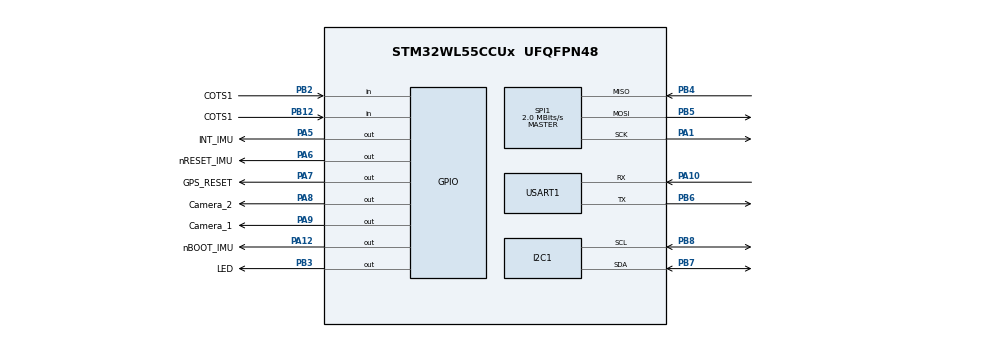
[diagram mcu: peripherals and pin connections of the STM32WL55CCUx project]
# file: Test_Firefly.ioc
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Mcu.Family=STM32WL
Mcu.Name=STM32WL55CCUx
Mcu.Package=UFQFPN48
NVIC.PriorityGroup=NVIC_PRIORITYGROUP_4
PA1.Mode=Full_Duplex_Master
PA1.Signal=SPI1_SCK
PA10.Mode=Asynchronous
PA10.Signal=USART1_RX
PA12.GPIO_Label=nBOOT_IMU
PA12.Signal=GPIO_Output
PA5.GPIO_Label=INT_IMU
PA5.Signal=GPIO_Output
PA6.GPIO_Label=nRESET_IMU
PA6.Signal=GPIO_Output
PA7.GPIO_Label=GPS_RESET
PA7.Signal=GPIO_Output
PA8.GPIO_Label=Camera_2
PA8.Signal=GPIO_Output
PA9.GPIO_Label=Camera_1
PA9.Signal=GPIO_Output
PB12.GPIO_Label=COTS1
PB12.Signal=GPIO_Input
PB2.GPIO_Label=COTS1
PB2.Signal=GPIO_Input
PB3.GPIO_Label=LED
PB3.Signal=GPIO_Output
PB4.Mode=Full_Duplex_Master
PB4.Signal=SPI1_MISO
PB5.Mode=Full_Duplex_Master
PB5.Signal=SPI1_MOSI
PB6.Mode=Asynchronous
PB6.Signal=USART1_TX
PB7.Mode=I2C
PB7.Signal=I2C1_SDA
PB8.Mode=I2C
PB8.Signal=I2C1_SCL
ProjectManager.HeapSize=0x200
ProjectManager.StackSize=0x400
ProjectManager.TargetToolchain=Makefile
RCC.HSE_VALUE=8000000
RCC.HSI_VALUE=16000000
RCC.LSE_VALUE=32768
RCC.VCOOutputFreq_Value=32000000
SPI1.CalculateBaudRate=2.0 MBits/s
SPI1.Direction=SPI_DIRECTION_2LINES
SPI1.Mode=SPI_MODE_MASTER
SPI1.VirtualType=VM_MASTER
USART1.VirtualMode-Asynchronous=VM_ASYNC
VP_SUBGHZ_VS_SUBGHZ.Mode=SUBGHZ_Activate
board=custom

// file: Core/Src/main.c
/* USER CODE BEGIN Header */
/**
  ******************************************************************************
  * @file           : main.c
  * @brief          : Main program body
  ******************************************************************************
  * @attention
  *
  * Copyright (c) 2022 STMicroelectronics.
  * All rights reserved.
  *
  * This software is licensed under terms that can be found in the LICENSE file
  * in the root directory of this software component.
  * If no LICENSE file comes with this software, it is provided AS-IS.
  *
  ******************************************************************************
  */
/* USER CODE END Header */
#include "main.h"
#include "app_subghz_phy.h"
#include "radio.h"
#include <string.h>

/* USER CODE BEGIN PD */
#define RF_FREQUENCY 868000000 // Hz
#define TX_OUTPUT_POWER 4

#define LORA_BANDWIDTH                              2         // [0: 125 kHz,
//  1: 250 kHz,
//  2: 500 kHz,
//  3: Reserved]
#define LORA_SPREADING_FACTOR                       10         // [SF7..SF12]
#define LORA_CODINGRATE                             1         // [1: 4/5,
//  2: 4/6,
//  3: 4/7,
//  4: 4/8]
#define LORA_PREAMBLE_LENGTH                        8         // Same for Tx and Rx
#define LORA_SYMBOL_TIMEOUT                         5         // Symbols
#define LORA_FIX_LENGTH_PAYLOAD_ON                  false
#define LORA_IQ_INVERSION_ON                        false

#define LORA_TX_BUFFER_SIZE 128
#define LORA_RX_BUFFER_SIZE 128
/* USER CODE END PD */

I2C_HandleTypeDef hi2c1;

SPI_HandleTypeDef hspi1;

SUBGHZ_HandleTypeDef hsubghz;

UART_HandleTypeDef huart1;

/* USER CODE BEGIN PV */
static const uint32_t I2CTxBuffer_size = 128;
static const uint32_t I2CRxBuffer_size = 128;
static const uint8_t IMU_ADDR = 0x28 << 1;
static const char HELLO[] = "Hello/r/n";
/* USER CODE END PV */

void SystemClock_Config(void);
static void MX_GPIO_Init(void);
static void MX_I2C1_Init(void);
static void MX_SPI1_Init(void);
static void MX_USART1_UART_Init(void);

int main(void)
{
  /* USER CODE BEGIN 1 */
  uint8_t I2CRxBuf[I2CRxBuffer_size];

  /* Buffer used for reception */
  uint8_t I2CTxBuf[I2CTxBuffer_size];
  /* USER CODE END 1 */

  /* MCU Configuration--------------------------------------------------------*/

  /* Reset of all peripherals, Initializes the Flash interface and the Systick. */
  HAL_Init();

  /* Configure the system clock */
  SystemClock_Config();

  /* Initialize all configured peripherals */
  MX_GPIO_Init();
  MX_I2C1_Init();
  MX_SPI1_Init();
  MX_USART1_UART_Init();
  MX_SubGHz_Phy_Init();

  /* USER CODE BEGIN 2 */
  Radio.SetChannel(RF_FREQUENCY);
	Radio.SetTxConfig(MODEM_LORA, TX_OUTPUT_POWER, 0, LORA_BANDWIDTH,
	LORA_SPREADING_FACTOR, LORA_CODINGRATE, LORA_PREAMBLE_LENGTH,
	LORA_FIX_LENGTH_PAYLOAD_ON,
	true, 0, 0, LORA_IQ_INVERSION_ON, 3000);

	Radio.SetPublicNetwork(false);

	Radio.SetMaxPayloadLength(MODEM_LORA, LORA_TX_BUFFER_SIZE);

  /* USER CODE END 2 */

  /* Infinite loop */
  /* USER CODE BEGIN WHILE */
  while (1)
  {
    HAL_GPIO_WritePin(LED_GPIO_Port, LED_Pin,GPIO_PIN_SET);
    HAL_Delay(500);

    HAL_GPIO_WritePin(LED_GPIO_Port, LED_Pin,GPIO_PIN_RESET);
    HAL_Delay(500);

    strcpy((char*)I2CTxBuf, "Hello!/r/n");
    Radio.Send(I2CTxBuf, 12);

    /* USER CODE END WHILE */
    MX_SubGHz_Phy_Process();

  }
}

void SystemClock_Config(void)
{
  RCC_OscInitTypeDef RCC_OscInitStruct = {0};
  RCC_ClkInitTypeDef RCC_ClkInitStruct = {0};

  /** Configure the main internal regulator output voltage
  */
  __HAL_PWR_VOLTAGESCALING_CONFIG(PWR_REGULATOR_VOLTAGE_SCALE2);

  /** Initializes the CPU, AHB and APB buses clocks
  */
  RCC_OscInitStruct.OscillatorType = RCC_OSCILLATORTYPE_MSI;
  RCC_OscInitStruct.MSIState = RCC_MSI_ON;
  RCC_OscInitStruct.MSICalibrationValue = RCC_MSICALIBRATION_DEFAULT;
  RCC_OscInitStruct.MSIClockRange = RCC_MSIRANGE_6;
  RCC_OscInitStruct.PLL.PLLState = RCC_PLL_NONE;
  if (HAL_RCC_OscConfig(&RCC_OscInitStruct) != HAL_OK)
  {
    Error_Handler();
  }

  /** Configure the SYSCLKSource, HCLK, PCLK1 and PCLK2 clocks dividers
  */
  RCC_ClkInitStruct.ClockType = RCC_CLOCKTYPE_HCLK3|RCC_CLOCKTYPE_HCLK
                              |RCC_CLOCKTYPE_SYSCLK|RCC_CLOCKTYPE_PCLK1
                              |RCC_CLOCKTYPE_PCLK2;
  RCC_ClkInitStruct.SYSCLKSource = RCC_SYSCLKSOURCE_MSI;
  RCC_ClkInitStruct.AHBCLKDivider = RCC_SYSCLK_DIV1;
  RCC_ClkInitStruct.APB1CLKDivider = RCC_HCLK_DIV1;
  RCC_ClkInitStruct.APB2CLKDivider = RCC_HCLK_DIV1;
  RCC_ClkInitStruct.AHBCLK3Divider = RCC_SYSCLK_DIV1;

  if (HAL_RCC_ClockConfig(&RCC_ClkInitStruct, FLASH_LATENCY_0) != HAL_OK)
  {
    Error_Handler();
  }
}

static void MX_I2C1_Init(void)
{

  hi2c1.Instance = I2C1;
  hi2c1.Init.Timing = 0x00000E14;
  hi2c1.Init.OwnAddress1 = 0;
  hi2c1.Init.AddressingMode = I2C_ADDRESSINGMODE_7BIT;
  hi2c1.Init.DualAddressMode = I2C_DUALADDRESS_DISABLE;
  hi2c1.Init.OwnAddress2 = 0;
  hi2c1.Init.OwnAddress2Masks = I2C_OA2_NOMASK;
  hi2c1.Init.GeneralCallMode = I2C_GENERALCALL_DISABLE;
  hi2c1.Init.NoStretchMode = I2C_NOSTRETCH_DISABLE;
  if (HAL_I2C_Init(&hi2c1) != HAL_OK)
  {
    Error_Handler();
  }

  /** Configure Analogue filter
  */
  if (HAL_I2CEx_ConfigAnalogFilter(&hi2c1, I2C_ANALOGFILTER_ENABLE) != HAL_OK)
  {
    Error_Handler();
  }

  /** Configure Digital filter
  */
  if (HAL_I2CEx_ConfigDigitalFilter(&hi2c1, 0) != HAL_OK)
  {
    Error_Handler();
  }

}

static void MX_SPI1_Init(void)
{

  /* SPI1 parameter configuration*/
  hspi1.Instance = SPI1;
  hspi1.Init.Mode = SPI_MODE_MASTER;
  hspi1.Init.Direction = SPI_DIRECTION_2LINES;
  hspi1.Init.DataSize = SPI_DATASIZE_4BIT;
  hspi1.Init.CLKPolarity = SPI_POLARITY_LOW;
  hspi1.Init.CLKPhase = SPI_PHASE_1EDGE;
  hspi1.Init.NSS = SPI_NSS_SOFT;
  hspi1.Init.BaudRatePrescaler = SPI_BAUDRATEPRESCALER_2;
  hspi1.Init.FirstBit = SPI_FIRSTBIT_MSB;
  hspi1.Init.TIMode = SPI_TIMODE_DISABLE;
  hspi1.Init.CRCCalculation = SPI_CRCCALCULATION_DISABLE;
  hspi1.Init.CRCPolynomial = 7;
  hspi1.Init.CRCLength = SPI_CRC_LENGTH_DATASIZE;
  hspi1.Init.NSSPMode = SPI_NSS_PULSE_ENABLE;
  if (HAL_SPI_Init(&hspi1) != HAL_OK)
  {
    Error_Handler();
  }

}

void MX_SUBGHZ_Init(void)
{

  hsubghz.Init.BaudratePrescaler = SUBGHZSPI_BAUDRATEPRESCALER_8;
  if (HAL_SUBGHZ_Init(&hsubghz) != HAL_OK)
  {
    Error_Handler();
  }
  HAL_SUBGHZ_MspInit(&hsubghz);

}

static void MX_USART1_UART_Init(void)
{

  huart1.Instance = USART1;
  huart1.Init.BaudRate = 115200;
  huart1.Init.WordLength = UART_WORDLENGTH_8B;
  huart1.Init.StopBits = UART_STOPBITS_1;
  huart1.Init.Parity = UART_PARITY_NONE;
  huart1.Init.Mode = UART_MODE_TX_RX;
  huart1.Init.HwFlowCtl = UART_HWCONTROL_NONE;
  huart1.Init.OverSampling = UART_OVERSAMPLING_16;
  huart1.Init.OneBitSampling = UART_ONE_BIT_SAMPLE_DISABLE;
  huart1.Init.ClockPrescaler = UART_PRESCALER_DIV1;
  huart1.AdvancedInit.AdvFeatureInit = UART_ADVFEATURE_NO_INIT;
  if (HAL_UART_Init(&huart1) != HAL_OK)
  {
    Error_Handler();
  }
  if (HAL_UARTEx_SetTxFifoThreshold(&huart1, UART_TXFIFO_THRESHOLD_1_8) != HAL_OK)
  {
    Error_Handler();
  }
  if (HAL_UARTEx_SetRxFifoThreshold(&huart1, UART_RXFIFO_THRESHOLD_1_8) != HAL_OK)
  {
    Error_Handler();
  }
  if (HAL_UARTEx_DisableFifoMode(&huart1) != HAL_OK)
  {
    Error_Handler();
  }

}

static void MX_GPIO_Init(void)
{
  GPIO_InitTypeDef GPIO_InitStruct = {0};

  /* GPIO Ports Clock Enable */
  __HAL_RCC_GPIOB_CLK_ENABLE();
  __HAL_RCC_GPIOA_CLK_ENABLE();

  /*Configure GPIO pin Output Level */
  HAL_GPIO_WritePin(LED_GPIO_Port, LED_Pin, GPIO_PIN_RESET);

  /*Configure GPIO pin Output Level */
  HAL_GPIO_WritePin(GPIOA, INT_IMU_Pin|nRESET_IMU_Pin|GPS_RESET_Pin|Camera_2_Pin
                          |Camera_1_Pin|nBOOT_IMU_Pin, GPIO_PIN_RESET);

  /*Configure GPIO pin : LED_Pin */
  GPIO_InitStruct.Pin = LED_Pin;
  GPIO_InitStruct.Mode = GPIO_MODE_OUTPUT_PP;
  GPIO_InitStruct.Pull = GPIO_NOPULL;
  GPIO_InitStruct.Speed = GPIO_SPEED_FREQ_LOW;
  HAL_GPIO_Init(LED_GPIO_Port, &GPIO_InitStruct);

  /*Configure GPIO pins : INT_IMU_Pin nRESET_IMU_Pin GPS_RESET_Pin Camera_2_Pin
                           Camera_1_Pin nBOOT_IMU_Pin */
  GPIO_InitStruct.Pin = INT_IMU_Pin|nRESET_IMU_Pin|GPS_RESET_Pin|Camera_2_Pin
                          |Camera_1_Pin|nBOOT_IMU_Pin;
  GPIO_InitStruct.Mode = GPIO_MODE_OUTPUT_PP;
  GPIO_InitStruct.Pull = GPIO_NOPULL;
  GPIO_InitStruct.Speed = GPIO_SPEED_FREQ_LOW;
  HAL_GPIO_Init(GPIOA, &GPIO_InitStruct);

  /*Configure GPIO pins : COTS1_Pin COTS1B12_Pin */
  GPIO_InitStruct.Pin = COTS1_Pin|COTS1B12_Pin;
  GPIO_InitStruct.Mode = GPIO_MODE_INPUT;
  GPIO_InitStruct.Pull = GPIO_NOPULL;
  HAL_GPIO_Init(GPIOB, &GPIO_InitStruct);

}

void Error_Handler(void)
{
  __disable_irq();
  while (1)
  {
  }
}
